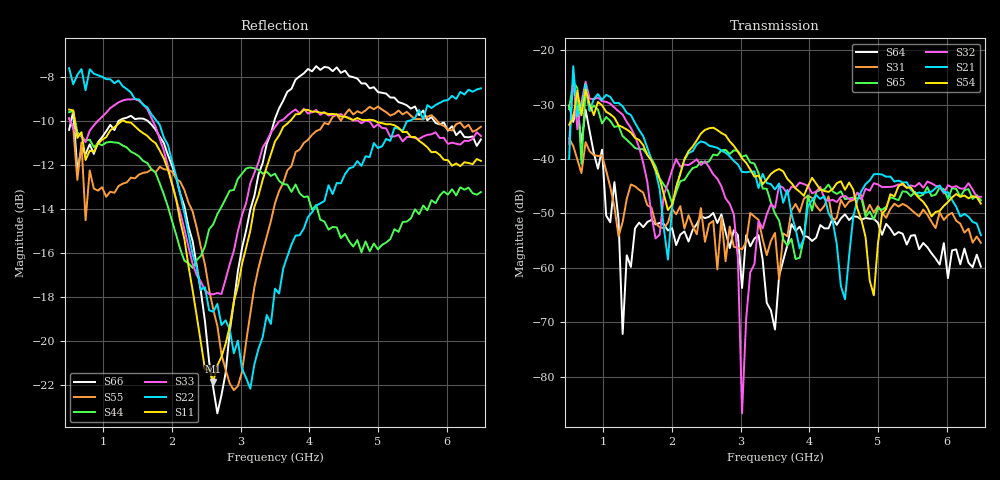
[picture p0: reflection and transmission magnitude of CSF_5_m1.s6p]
!Keysight Technologies,M9804A,MY58100912,A.14.10.03
!Date: Thursday, April 27, 2023 10:28:33
!Correction: S11(C  6-Port  )
!S12(C  6-Port  )
!S13(C  6-Port  )
!S14(C  6-Port  )
!S15(C  6-Port  )
!S16(C  6-Port  )
!S21(C  6-Port  )
!S22(C  6-Port  )
!S23(C  6-Port  )
!S24(C  6-Port  )
!S25(C  6-Port  )
!S26(C  6-Port  )
!S31(C  6-Port  )
!S32(C  6-Port  )
!S33(C  6-Port  )
!S34(C  6-Port  )
!S35(C  6-Port  )
!S36(C  6-Port  )
!S41(C  6-Port  )
!S42(C  6-Port  )
!S43(C  6-Port  )
!S44(C  6-Port  )
!S45(C  6-Port  )
!S46(C  6-Port  )
!S51(C  6-Port  )
!S52(C  6-Port  )
!S53(C  6-Port  )
!S54(C  6-Port  )
!S55(C  6-Port  )
!S56(C  6-Port  )
!S61(C  6-Port  )
!S62(C  6-Port  )
!S63(C  6-Port  )
!S64(C  6-Port  )
!S65(C  6-Port  )
!S66(C  6-Port  )
!S6P File: Measurement: :
# Hz S  RI  R 50
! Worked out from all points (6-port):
!   101 points, 500 MHz to 6.5 GHz, reference 50 ohm
!   strongest paths, dB at 500 MHz, 2 GHz, 3.5 GHz, 5 GHz, 6.5 GHz:
!     S54: -33.7, -48.4, -42.2, -55.5, -48.2
!     S21: -40.0, -48.9, -45.6, -42.8, -54.0
!     S32: -37.2, -42.0, -49.0, -44.7, -46.9
!     S65: -30.8, -48.1, -50.0, -49.0, -47.6
!     S31: -36.2, -49.1, -53.6, -48.6, -55.4
!     S64: -30.1, -52.7, -71.3, -51.7, -59.8
!   lowest |S11| = -21.8 dB at 2.6 GHz (marker M1), VSWR 1.18, Z = 42.7 + j1.91 ohm
!   |S11| at or under -10 dB: 582.8 MHz to 1.269 GHz (686.6 MHz wide, 74.1 % of centre); 1.298 GHz to 3.721 GHz (2.423 GHz wide, 96.5 % of centre); 4.956 GHz to end of sweep
